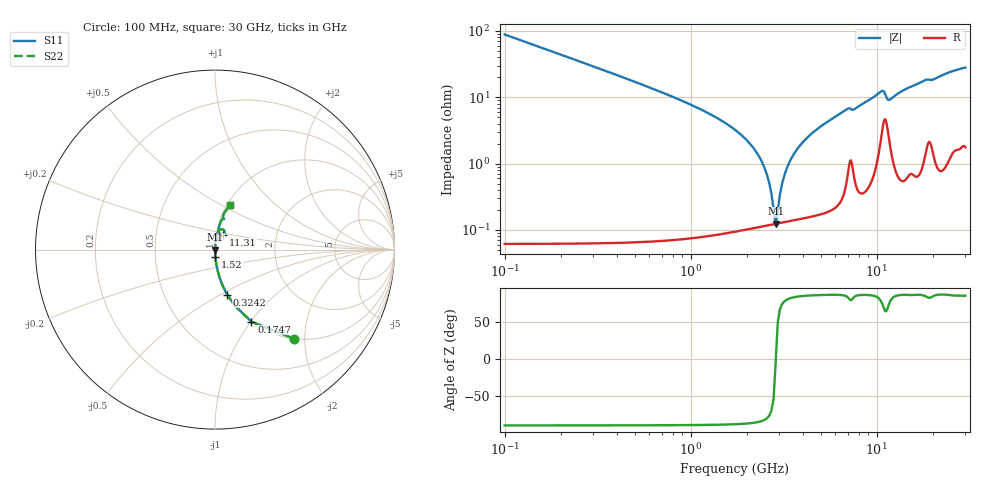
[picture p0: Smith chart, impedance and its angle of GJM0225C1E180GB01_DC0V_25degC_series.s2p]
!Murata Part Number: GJM0225C1E180GB01
!These Parameters are Measured in Series Mode Connection
!  o--ll--o
!Port1  Port2
!  o------o
!Operation Temp=25[degC], DC Bias Voltage=0[V]
!Freq. Start=100[MHz] Stop=30[GHz], 401[Steps]
!Data Generated on Feb 1, 2023
# Hz S RI R 50
!Freq.(Hz) S11(Real) S11(Imag) S21(Real) S21(Imag) S12(Real) S12(Imag) S22(Real) S22(Imag)
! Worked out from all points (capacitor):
!   401 points, 100 MHz to 30 GHz, reference 50 ohm
!   read as one part in series: C = 18 pF near 249.5 MHz
!   lowest |Z| = 124 mohm at 2.866 GHz (marker M1)
!   series resonance near 2.87 GHz, so ESL is about 170 pH
!   S11 on the Smith chart (normalised r, x): 100 MHz: 1.00, -1.77; 174.8 MHz: 1.00, -1.01; 324.2 MHz: 1.00, -0.54; 1.52 GHz: 1.00, -0.08; 11.31 GHz: 1.08, +0.18; 30 GHz: 1.04, +0.56
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1e8  0.4382 -0.4958  0.5618 0.4958  0.5618 0.4958  0.4382 -0.4958
1.7475e8  0.2029 -0.4015  0.7971 0.4015  0.7971 0.4015  0.2029 -0.4015
3.2425e8  0.0681 -0.2507  0.9319 0.2507  0.9319 0.2507  0.0681 -0.2507
6.98e8  0.0146 -0.1173  0.9854 0.1173  0.9854 0.1173  0.0146 -0.1173
1.52025e9  0.00262 -0.0416  0.9974 0.0416  0.9974 0.0416  0.00262 -0.0416
2.3425e9  0.00127 -0.0125  0.9987 0.0125  0.9987 0.0125  0.00127 -0.0125
2.56675e9  0.00121 -0.00684  0.9988 0.00684  0.9988 0.00684  0.00121 -0.00684
2.791e9  0.00122 -0.0017  0.9988 0.0017  0.9988 0.0017  0.00122 -0.0017
2.86575e9  0.00124 -8.1e-05  0.9988 8.1e-05  0.9988 8.1e-05  0.00124 -8.1e-05
3.01525e9  0.00128 0.00303  0.9987 -0.00303  0.9987 -0.00303  0.00128 0.00303
3.2395e9  0.00138 0.00744  0.9986 -0.00744  0.9986 -0.00744  0.00138 0.00744
3.61325e9  0.00161 0.0142  0.9984 -0.0142  0.9984 -0.0142  0.00161 0.0142
4.21125e9  0.00212 0.0241  0.9979 -0.0241  0.9979 -0.0241  0.00212 0.0241
5.10825e9  0.00317 0.0376  0.9968 -0.0376  0.9968 -0.0376  0.00317 0.0376
6.90225e9  0.00958 0.0646  0.9904 -0.0646  0.9904 -0.0646  0.00958 0.0646
1.01165e10  0.0231 0.1071  0.9769 -0.1071  0.9769 -0.1071  0.0231 0.1071
1.078925e10  0.047 0.1101  0.953 -0.1101  0.953 -0.1101  0.047 0.1101
1.13125e10  0.0457 0.083  0.9543 -0.083  0.9543 -0.083  0.0457 0.083
1.505e10  0.026 0.1367  0.974 -0.1367  0.974 -0.1367  0.026 0.1367
2.005825e10  0.0457 0.1729  0.9543 -0.1729  0.9543 -0.1729  0.0457 0.1729
2.50665e10  0.0663 0.2237  0.9337 -0.2237  0.9337 -0.2237  0.0663 0.2237
3e10  0.0859 0.2503  0.9141 -0.2503  0.9141 -0.2503  0.0859 0.2503
